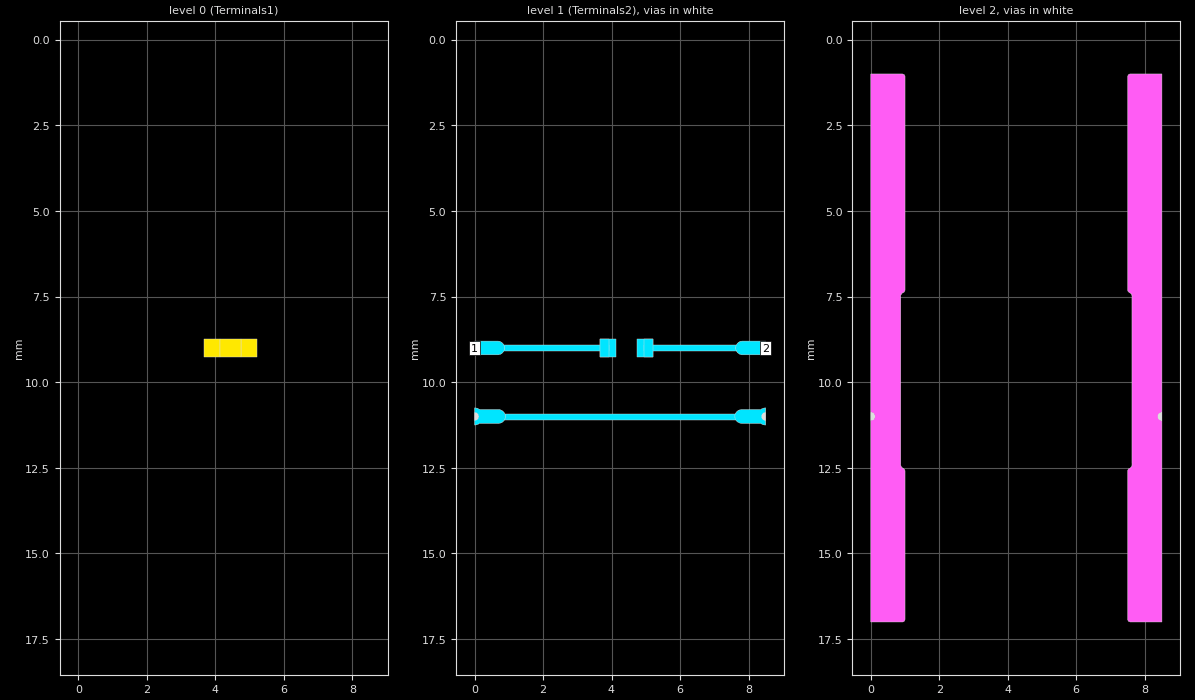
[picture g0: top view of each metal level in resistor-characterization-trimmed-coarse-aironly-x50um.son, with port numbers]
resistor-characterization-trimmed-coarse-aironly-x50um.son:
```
FTYP SONPROJ 19 ! Sonnet Project File
VER 18.56
HEADER
LIC antikernel2.1.51813
DAT 11/06/2022 19:36:28
BUILT_BY_CREATED xgeom 18.54 09/23/2022 20:17:08
BUILT_BY_SAVED sonnet 18.56
MDATE 11/06/2022 19:36:28
HDATE 11/06/2022 19:36:28
ANN Created by dxfgeo, Sonnet Software Inc.
END HEADER
DIM
ANG DEG
CAP FF
CON /OH
FREQ GHZ
IND PH
LNG MM
RES OH
END DIM
CONTROL
VARSWP
OPTIONS  -dj
SPEED 1
CACHE_ABS 2
Q_ACC N
END CONTROL
GEO
DRP1 LEFT NONE 2
DRP1 RIGHT NONE 2
TMET "Free Space" 0 FREESPACE 376.7303136 0 0 0
BMET "Free Space" 0 FREESPACE 376.7303136 0 0 0
MET "Copper_1oz+plated_thick_up" 1 TMM 58000000 0.5 0.0432 2
MET "Copper_1oz+plated_thin" 4 NOR 58000000 0.5 0.0432 
MET "Copper_0.5oz_thin" 2 NOR 58000000 0.5 0.0175 
MET "Copper_1oz+plated_thick_down" 3 TMM 58000000 0.5 0.0432 2 CDVY TDWN
MET "Nickel" 1 TVM 7.5e-06 0.175  RSVY
MET "Nickel 0.175mm" 5 TMM 6.99e-08 0.5 0.175 4 RSVY
MET "Tin" 2 TVM 8700000 0.5 
MET "Copper" 4 TMM 58000000 0.5 0.035 2 CDVY TDWN
MET "Solder" 37 TMM 8700000 0.5 0.5 4
MET "Resistor 265" 3 RES 265  0.05
MET "Resistor 375" 6 RES 375  0.035
MET "Copper 35um" 1 VOL 58000000 0.035
BRI "Alumina 99.5" 1 9.8 0.0001 0 
BOX 5 8.5 18 340 1440 20 0
      10 1 1 0 0 0 0 "Air"
      0.5 1 1 0 0 0 5 "Air"
      0.2021 3.61 1 0.0092 0 0 2 "Isola_FR408HR"
      1.1938 3.61 1 0.0092 0 0 2 "Isola_FR408HR"
      0.2021 3.61 1 0.0092 0 0 2 "Isola_FR408HR"
      10 1 1 0 0 0 0 "Air"
TECHLAY METAL Terminals1 <UNSPECIFIED> -12 -65534 
0 0 0 N 550 1 1 100 100 0 0 0 Y
END
END
TECHLAY METAL Resistor <UNSPECIFIED> -13 -65534 
0 0 10 N 552 1 1 100 100 0 0 0 Y
END
END
TECHLAY METAL Terminals2 <UNSPECIFIED> -9 -65534 
1 0 3 N 555 1 1 100 100 0 0 0 Y
END
END
TECHLAY METAL NickelLeadwire <UNSPECIFIED> -8 -65534 
1 0 5 N 557 1 1 100 100 0 0 0 Y
END
END
TECHLAY METAL Solder <UNSPECIFIED> -11 -65534 
1 0 8 N 559 1 1 100 100 0 0 0 Y
END
END
TECHLAY BRICK ResistorBody <UNSPECIFIED> -10 -65534 
BRI POLY
1 0 1 N 721 1 1 100 100 0 0 0 Y
END
END
TECHLAY METAL F.Cu_thin <UNSPECIFIED> -2 -65534 CAD F.Cu_thin drawing 
1 0 1 N 563 1 1 100 100 0 0 0 Y
END
END
TECHLAY METAL F.Cu_thick L1D0 -1 -65534 CAD F.Cu drawing 
1 0 0 N 565 1 1 100 100 0 0 0 Y
END
END
TECHLAY VIA Via1 L3D0 -7 -65534 CAD Via1 drawing 
VIA POLYGON
1 0 11 N 722 1 1 100 100 0 0 0 Y
TOLEVEL 4 RING NOCOVERS
END
END
TECHLAY METAL In1.Cu L2D0 -3 -65534 CAD In1.Cu drawing 
2 0 2 N 576 1 1 100 100 0 0 0 Y
END
END
TECHLAY BRICK AirCutout1 <UNSPECIFIED> -14 0 
BRI POLY
2 0 0 N 725 5 5 500 500 0 0 0 N
END
END
TECHLAY METAL In2.Cu <UNSPECIFIED> -4 -65534 CAD In2.Cu drawing 
3 0 2 N 579 1 1 100 100 0 0 0 Y
END
END
TECHLAY BRICK AirCutout2 <UNSPECIFIED> -15 0 
BRI POLY
3 0 0 N 726 1 1 500 500 0 0 0 N
END
END
TECHLAY METAL B.Cu_thin <UNSPECIFIED> -6 -65534 CAD B.Cu_thin drawing 
4 0 1 N 582 1 1 100 100 0 0 0 Y
END
END
TECHLAY METAL B.Cu_thick <UNSPECIFIED> -5 -65534 CAD B.Cu drawing 
4 0 3 N 584 1 1 100 100 0 0 0 Y
END
END
TECHLAY BRICK AirCutout3 <UNSPECIFIED> -16 0 
BRI POLY
4 0 0 N 727 1 1 500 500 0 0 0 N
END
END
LORGN 0 18 U 
POR1 BOX
POLY 736 1
31
1 50 0 0 0 0 9 
POR1 BOX
POLY 741 1
33
2 50 0 0 0 8.5 9 
NUM 20
0 5 0 N 339 1 1 100 100 0 0 0 Y
TLAYNAM Terminals1 INH
3.6625 8.75
4.1375 8.75
4.1375 9.25
3.6625 9.25
3.6625 8.75
END
0 5 0 N 338 1 1 100 100 0 0 0 Y
TLAYNAM Terminals1 INH
4.7375 8.75
5.2125 8.75
5.2125 9.25
4.7375 9.25
4.7375 8.75
END
0 5 10 N 343 1 1 100 100 0 0 0 Y
TLAYNAM Resistor INH
4.1375 8.75
4.7375 8.75
4.7375 9.25
4.1375 9.25
4.1375 8.75
END
1 5 3 N 323 1 1 100 100 0 0 0 Y
TLAYNAM Terminals2 INH
4.7375 8.75
5.2125 8.75
5.2125 9.25
4.7375 9.25
4.7375 8.75
END
1 5 3 N 447 1 1 100 100 0 0 0 Y
TLAYNAM Terminals2 INH
3.6625 8.75
4.1375 8.75
4.1375 9.25
3.6625 9.25
3.6625 8.75
END
1 5 5 N 286 1 1 100 100 0 0 0 Y
TLAYNAM NickelLeadwire INH
0.4125 10.925
7.9125 10.925
7.9125 11.1
0.4125 11.1
0.4125 10.925
END
1 5 5 N 328 1 1 100 100 0 0 0 Y
TLAYNAM NickelLeadwire INH
7.9125 8.9
4.9375 8.9
4.9375 9.075
7.9125 9.075
7.9125 8.9
END
1 5 5 N 329 1 1 100 100 0 0 0 Y
TLAYNAM NickelLeadwire INH
3.9375 8.9
0.4125 8.9
0.4125 9.075
3.9375 9.075
3.9375 8.9
END
1 5 8 N 322 1 1 100 100 0 0 0 Y
TLAYNAM Solder INH
4.9375 8.75
5.2125 8.75
5.2125 9.25
4.9375 9.25
4.9375 8.75
END
1 5 8 N 319 1 1 100 100 0 0 0 Y
TLAYNAM Solder INH
3.6625 8.75
3.9375 8.75
3.9375 9.25
3.6625 9.25
3.6625 8.75
END
BRI POLY
1 5 1 N 321 1 1 100 100 0 0 0 Y
TLAYNAM ResistorBody INH
3.9375 8.75
4.9375 8.75
4.9375 9.25
3.9375 9.25
3.9375 8.75
END
1 51 0 N 735 1 1 100 100 0 0 0 Y
USER_DAT FromImport
0.037 11.247
0.061 11.243
0.084 11.235
0.107 11.226
0.129 11.214
0.149 11.201
0.15 11.2
0.71 11.2
0.729 11.198
0.749 11.194
0.767 11.189
0.786 11.181
0.803 11.172
0.819 11.161
0.834 11.148
0.848 11.134
0.861 11.119
0.872 11.103
0.881 11.086
0.889 11.067
0.894 11.049
0.898 11.029
0.9 11.01
0.9 10.99
0.898 10.971
0.894 10.951
0.889 10.933
0.881 10.914
0.872 10.897
0.861 10.881
0.848 10.866
0.834 10.852
0.819 10.839
0.803 10.828
0.786 10.819
0.767 10.811
0.749 10.806
0.729 10.802
0.71 10.8
0.15 10.8
0.149 10.799
0.129 10.786
0.107 10.774
0.084 10.765
0.061 10.757
0.037 10.753
0.012 10.75
0 10.75
0 11.25
0.012 11.25
0.037 11.247
END
1 35 0 N 736 1 1 100 100 0 0 0 Y
USER_DAT FromImport
0.704 9.198
0.723 9.194
0.742 9.189
0.76 9.181
0.778 9.172
0.794 9.161
0.809 9.148
0.823 9.134
0.835 9.119
0.846 9.103
0.856 9.086
0.863 9.067
0.869 9.049
0.873 9.029
0.875 9.01
0.875 8.99
0.873 8.971
0.869 8.951
0.863 8.933
0.856 8.914
0.846 8.897
0.835 8.881
0.823 8.866
0.809 8.852
0.794 8.839
0.778 8.828
0.76 8.819
0.742 8.811
0.723 8.806
0.704 8.802
0.684 8.8
0 8.8
0 9.2
0.684 9.2
0.704 9.198
END
VIA POLYGON
1 28 11 N 737 1 1 100 100 0 0 0 Y
TOLEVEL 4 RING NOCOVERS
USER_DAT FromImport
0.024 11.123
0.036 11.12
0.048 11.115
0.059 11.11
0.069 11.104
0.079 11.097
0.097 11.079
0.104 11.069
0.11 11.059
0.115 11.048
0.12 11.036
0.123 11.024
0.125 11
0.123 10.976
0.12 10.964
0.115 10.952
0.11 10.941
0.104 10.931
0.097 10.921
0.079 10.903
0.069 10.896
0.059 10.89
0.048 10.885
0.036 10.88
0.024 10.877
0 10.875
0 11.125
0.024 11.123
END
1 51 0 N 740 1 1 100 100 0 0 0 Y
USER_DAT FromImport
8.5 10.75
8.488 10.75
8.463 10.753
8.439 10.757
8.416 10.765
8.393 10.774
8.371 10.786
8.351 10.799
8.35 10.8
7.79 10.8
7.771 10.802
7.751 10.806
7.733 10.811
7.714 10.819
7.697 10.828
7.681 10.839
7.666 10.852
7.652 10.866
7.639 10.881
7.628 10.897
7.619 10.914
7.611 10.933
7.606 10.951
7.602 10.971
7.6 10.99
7.6 11.01
7.602 11.029
7.606 11.049
7.611 11.067
7.619 11.086
7.628 11.103
7.639 11.119
7.652 11.134
7.666 11.148
7.681 11.161
7.697 11.172
7.714 11.181
7.733 11.189
7.751 11.194
7.771 11.198
7.79 11.2
8.35 11.2
8.351 11.201
8.371 11.214
8.393 11.226
8.416 11.235
8.439 11.243
8.463 11.247
8.488 11.25
8.5 11.25
8.5 10.75
END
1 35 0 N 741 1 1 100 100 0 0 0 Y
USER_DAT FromImport
8.5 8.8
7.815 8.8
7.796 8.802
7.776 8.806
7.758 8.811
7.739 8.819
7.722 8.828
7.706 8.839
7.691 8.852
7.677 8.866
7.664 8.881
7.653 8.897
7.644 8.914
7.636 8.933
7.631 8.951
7.627 8.971
7.625 8.99
7.625 9.01
7.627 9.029
7.631 9.049
7.636 9.067
7.644 9.086
7.653 9.103
7.664 9.119
7.677 9.134
7.691 9.148
7.706 9.161
7.722 9.172
7.739 9.181
7.758 9.189
7.776 9.194
7.796 9.198
7.815 9.2
8.5 9.2
8.5 8.8
END
VIA POLYGON
1 28 11 N 742 1 1 100 100 0 0 0 Y
TOLEVEL 4 RING NOCOVERS
USER_DAT FromImport
8.5 10.875
8.476 10.877
8.464 10.88
8.452 10.885
8.441 10.89
8.431 10.896
8.421 10.903
8.403 10.921
8.396 10.931
8.39 10.941
8.385 10.952
8.38 10.964
8.377 10.976
8.375 11
8.377 11.024
8.38 11.036
8.385 11.048
8.39 11.059
8.396 11.069
8.403 11.079
8.421 11.097
8.431 11.104
8.441 11.11
8.452 11.115
8.464 11.12
8.476 11.123
8.5 11.125
8.5 10.875
END
BRI POLY
2 5 0 N 667 5 5 500 500 0 0 0 N
TLAYNAM AirCutout1 INH
0.875 8.475
7.611 8.475
7.611 11.45
0.875 11.45
0.875 8.475
END
2 51 2 N 738 1 1 100 100 0 0 0 Y
USER_DAT FromImport
0.939 16.999
0.983 16.974
1 16.926
1 12.588
0.99 12.552
0.962 12.527
0.963 12.525
0.958 12.521
0.946 12.518
0.929 12.504
0.92 12.497
0.91 12.491
0.901 12.485
0.898 12.477
0.897 12.476
0.89 12.47
0.886 12.454
0.88 12.439
0.871 12.418
0.873 12.408
0.874 12.396
0.875 12.386
0.875 7.527
0.871 7.518
0.873 7.508
0.874 7.496
0.875 7.486
0.875 7.463
0.879 7.456
0.88 7.456
0.88 7.454
0.882 7.446
0.896 7.429
0.903 7.42
0.909 7.41
0.915 7.401
0.923 7.398
0.924 7.397
0.93 7.39
0.94 7.387
0.947 7.385
0.983 7.362
1 7.314
1 1.074
0.999 1.061
0.974 1.017
0.926 1
0 1
0 17
0.926 17
0.939 16.999
END
2 50 2 N 743 1 1 100 100 0 0 0 Y
USER_DAT FromImport
8.5 1
7.574 1
7.561 1.001
7.517 1.026
7.5 1.074
7.5 7.312
7.51 7.348
7.538 7.373
7.537 7.375
7.542 7.379
7.554 7.382
7.562 7.389
7.58 7.403
7.599 7.415
7.602 7.423
7.603 7.424
7.61 7.43
7.613 7.44
7.616 7.451
7.62 7.461
7.629 7.482
7.627 7.492
7.626 7.504
7.625 7.514
7.625 12.373
7.629 12.382
7.627 12.392
7.626 12.404
7.625 12.414
7.625 12.437
7.621 12.444
7.62 12.444
7.62 12.446
7.618 12.454
7.611 12.462
7.597 12.48
7.585 12.499
7.577 12.502
7.576 12.503
7.57 12.51
7.56 12.513
7.553 12.515
7.517 12.538
7.5 12.586
7.5 16.926
7.501 16.939
7.526 16.983
7.574 17
8.5 17
8.5 1
END
END GEO
OPT
MAX 100
END OPT
VARSWP
ENABLED Y
FREQ Y AY ABS_ENTRY 0.1 8.5 -1 300 
END
END VARSWP
3DOPTIONS
GLOBAL 1
ALL 6 1
END 3DOPTIONS
```
